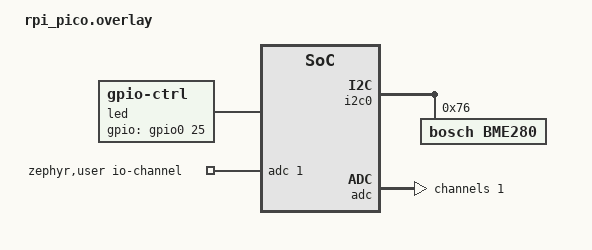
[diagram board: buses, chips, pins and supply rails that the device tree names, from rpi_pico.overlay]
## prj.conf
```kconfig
CONFIG_GPIO=y
CONFIG_SENSOR=y
CONFIG_I2C=y
CONFIG_BME280=y
CONFIG_ADC=y

CONFIG_STDOUT_CONSOLE=y
CONFIG_PRINTK=y
CONFIG_PWM=y
CONFIG_LOG=y
CONFIG_LOG_PRINTK=y
CONFIG_LOG_MODE_IMMEDIATE=y
CONFIG_PWM_LOG_LEVEL_DBG=y
```

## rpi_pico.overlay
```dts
/ {
	led: led {
		compatible = "gpio-ctrl";
        gpios = <&gpio0 25 0x0>;
    };
	
	zephyr,user {
		io-channels = <&adc 1>;
	};
};

&pinctrl{
	myi2c: myi2c {
		group1 {
			pinmux = <I2C0_SDA_P8>, <I2C0_SCL_P9>;
			input-enable;
			input-schmitt-enable;
		};
	};
};
&i2c0 {
	pinctrl-0 = <&myi2c>;
	status = "okay";
	bme280: bme280@76 {
		compatible = "bosch,bme280";
		reg = <0x76>;
		status = "okay";
	};
};



&adc {
	#address-cells = <1>;
	#size-cells = <0>;

	channel@1 {
		reg = <1>;
		zephyr,gain = "ADC_GAIN_1";
		zephyr,reference = "ADC_REF_INTERNAL";
		zephyr,acquisition-time = <ADC_ACQ_TIME_DEFAULT>;
		zephyr,resolution = <12>;
	};
};
```

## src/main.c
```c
/*
 * Copyright (c) 2023 Libre Solar Technologies GmbH
 *
 * SPDX-License-Identifier: Apache-2.0
 */

#include <stdio.h>
#include <inttypes.h>
#include <stddef.h>
#include <stdint.h>

#include <zephyr/devicetree.h>
#include <zephyr/device.h>
#include <zephyr/drivers/gpio.h>
#include <zephyr/drivers/adc.h>
#include <zephyr/drivers/sensor.h>
#include <zephyr/kernel.h>
#include <zephyr/sys/printk.h>
#include <zephyr/sys/util.h>

//BME------------------------------------------------------------------------
// static const struct device *get_bme280_device(void)
// {
// 	const struct device* dev = DEVICE_DT_GET_ANY(bosch_bme280);

// 	if (dev == NULL) {
// 		/* No such node, or the node does not have status "okay". */
// 		printk("\nError: no device found.\n");
// 		return NULL;
// 	}

// 	if (!device_is_ready(dev)) {
// 		printk("\nError: Device \"%s\" is not ready; "
// 		       "check the driver initialization logs for errors.\n",
// 		       dev->name);
// 		return NULL;
// 	}

// 	printk("Found device \"%s\", getting sensor data\n", dev->name);
// 	return dev;
// }

//ADC----------------------------------------------------------------------------
#if !DT_NODE_EXISTS(DT_PATH(zephyr_user)) || \
	!DT_NODE_HAS_PROP(DT_PATH(zephyr_user), io_channels)
#error "No suitable devicetree overlay specified"
#endif

#define DT_SPEC_AND_COMMA(node_id, prop, idx) \ 
	ADC_DT_SPEC_GET_BY_IDX(node_id, idx),

/* Data of ADC io-channels specified in devicetree. */
static const struct adc_dt_spec adc_channels[] = {
	DT_FOREACH_PROP_ELEM(DT_PATH(zephyr_user), io_channels,
			     DT_SPEC_AND_COMMA)
};

//clock-frequency = <I2C_BITRATE_STANDARD>;
int main(void)
{
    //LED--------------------------------------------------------------------------------------
    // static const struct gpio_dt_spec led_dev = GPIO_DT_SPEC_GET(DT_NODELABEL(led), gpios);
    // gpio_pin_configure_dt(&led_dev, GPIO_OUTPUT_ACTIVE);

	//BME--------------------------------------------------------------------------------------
	// const struct device *bme_dev = get_bme280_device();
	// if (bme_dev == NULL) {
	// 	return 0;
	// }

	//ADC--------------------------------------------------------------------------------------
	int err;
	uint32_t count = 0;
	uint16_t buf;
	struct adc_sequence sequence = {
		.buffer = &buf,
		/* buffer size in bytes, not number of samples */
		.buffer_size = sizeof(buf),
	};

	//0->3,3 = 0->10kPa
	//3,3 volt (differenza di pressione di 10kPa)
	//0 volt 
	//v = sqrt(2 deltaP/ro)
	/* Configure channels individually prior to sampling. */
	for (size_t i = 0U; i < ARRAY_SIZE(adc_channels); i++) {
		if (!adc_is_ready_dt(&adc_channels[i])) {
			printk("ADC controller device %s not ready\n", adc_channels[i].dev->name);
			return 0;
		}

		err = adc_channel_setup_dt(&adc_channels[i]);
		if (err < 0) {
			printk("Could not setup channel #%d (%d)\n", i, err);
			return 0;
		}
	}

    while(1){
        //LED-------------------------------------------------------------
        printk("nel main\n");
        k_msleep(500);
        //gpio_pin_toggle_dt(&led_dev);
        
        //BME-------------------------------------------------------------
        // struct sensor_value temp, press, humidity;

		// sensor_sample_fetch(bme_dev);
		// sensor_channel_get(bme_dev, SENSOR_CHAN_AMBIENT_TEMP, &temp);
		// sensor_channel_get(bme_dev, SENSOR_CHAN_PRESS, &press);
		// sensor_channel_get(bme_dev, SENSOR_CHAN_HUMIDITY, &humidity);

		// printk("temp: %d.%06d; press: %d.%06d; humidity: %d.%06d\n",
		//       temp.val1, temp.val2, press.val1, press.val2,
		//       humidity.val1, humidity.val2); 

		//ADC--------------------------------------------------------------
		printk("ADC reading[%u]:\n", count++);
		for (size_t i = 0U; i < ARRAY_SIZE(adc_channels); i++) {
			int32_t val_mv;

			printk("- %s, channel %d: ",
			       adc_channels[i].dev->name,
			       adc_channels[i].channel_id);

			(void)adc_sequence_init_dt(&adc_channels[i], &sequence);

			err = adc_read_dt(&adc_channels[i], &sequence);
			if (err < 0) {
				printk("Could not read (%d)\n", err);
				continue;
			}

			/*
			 * If using differential mode, the 16 bit value
			 * in the ADC sample buffer should be a signed 2's
			 * complement value.
			 */
			if (adc_channels[i].channel_cfg.differential) {
				val_mv = (int32_t)((int16_t)buf);
			} else {
				val_mv = (int32_t)buf;
			}
			printk("%"PRId32, val_mv);
			err = adc_raw_to_millivolts_dt(&adc_channels[i],
						       &val_mv);
			/* conversion to mV may not be supported, skip if not */
			if (err < 0) {
				printk(" (value in mV not available)\n");
			} else {
				printk(" = %"PRId32" mV\n", val_mv);
			}
		}
    }
	return 0;
}
```
